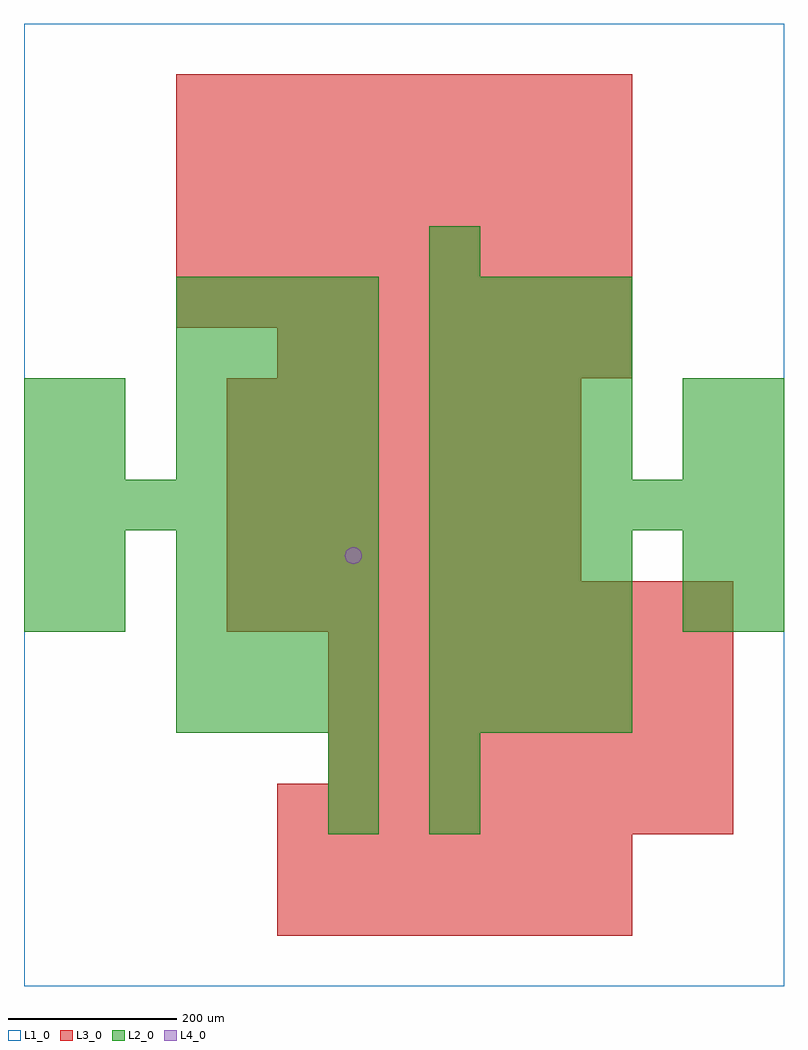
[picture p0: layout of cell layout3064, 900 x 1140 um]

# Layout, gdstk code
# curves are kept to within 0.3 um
import gdstk
lib = gdstk.Library(unit=1e-6, precision=1e-09)
def R(c, l, rs):  # rectangles x0, y0, x1, y1
    for r in rs: c.add(gdstk.rectangle(r[:2], r[2:], *l))
def A(c, l, x, y, w, h, nx, ny, dx, dy):  # array of equal rectangles
    R(c, l, [(x+i*dx, y+j*dy, x+i*dx+w, y+j*dy+h) for i in range(nx) for j in range(ny)])
def P(c, l, *ps):  # polygons
    for p in ps: c.add(gdstk.Polygon(p, *l))
L1_0 = (1, 0)
L2_0 = (2, 0)
L3_0 = (3, 0)
L4_0 = (4, 0)

layout3064 = lib.new_cell('layout3064')
R(layout3064, L1_0, [(0,0,900,1140)])
A(layout3064, L2_0, 180, 300, 60, 60, 4, 4, 60, 60)
A(layout3064, L2_0, 480, 300, 60, 60, 4, 4, 60, 60)
A(layout3064, L2_0, 0, 540, 60, 60, 7, 1, 60, 0)
A(layout3064, L2_0, 480, 540, 60, 60, 7, 1, 60, 0)
A(layout3064, L2_0, 180, 600, 60, 60, 4, 4, 60, 60)
A(layout3064, L2_0, 480, 600, 60, 60, 4, 4, 60, 60)
R(layout3064, L2_0, [(360,180,420,240), (480,180,540,240), (360,240,420,300), (480,240,540,300), (0,420,60,480), (60,420,120,480), (780,420,840,480), (840,420,900,480), (0,480,60,540), (60,480,120,540), (780,480,840,540), (840,480,900,540), (0,600,60,660), (60,600,120,660), (780,600,840,660), (840,600,900,660), (0,660,60,720), (60,660,120,720), (780,660,840,720), (840,660,900,720), (480,840,540,900)])
A(layout3064, L3_0, 300, 60, 60, 60, 7, 2, 60, 60)
A(layout3064, L3_0, 300, 180, 60, 60, 9, 1, 60, 0)
A(layout3064, L3_0, 360, 240, 60, 60, 8, 3, 60, 60)
A(layout3064, L3_0, 240, 420, 60, 60, 10, 1, 60, 0)
A(layout3064, L3_0, 240, 480, 60, 60, 7, 4, 60, 60)
A(layout3064, L3_0, 300, 720, 60, 60, 7, 1, 60, 0)
A(layout3064, L3_0, 180, 780, 60, 60, 9, 5, 60, 60)
P(layout3064, L4_0, [(400,510),(399.239,513.827),(397.071,517.071),(393.827,519.239),(390,520),(386.173,519.239),(382.929,517.071),(380.761,513.827),(380,510),(380.761,506.173),(382.929,502.929),(386.173,500.761),(390,500),(393.827,500.761),(397.071,502.929),(399.239,506.173)])

lib.write_gds('layout3064.gds')
